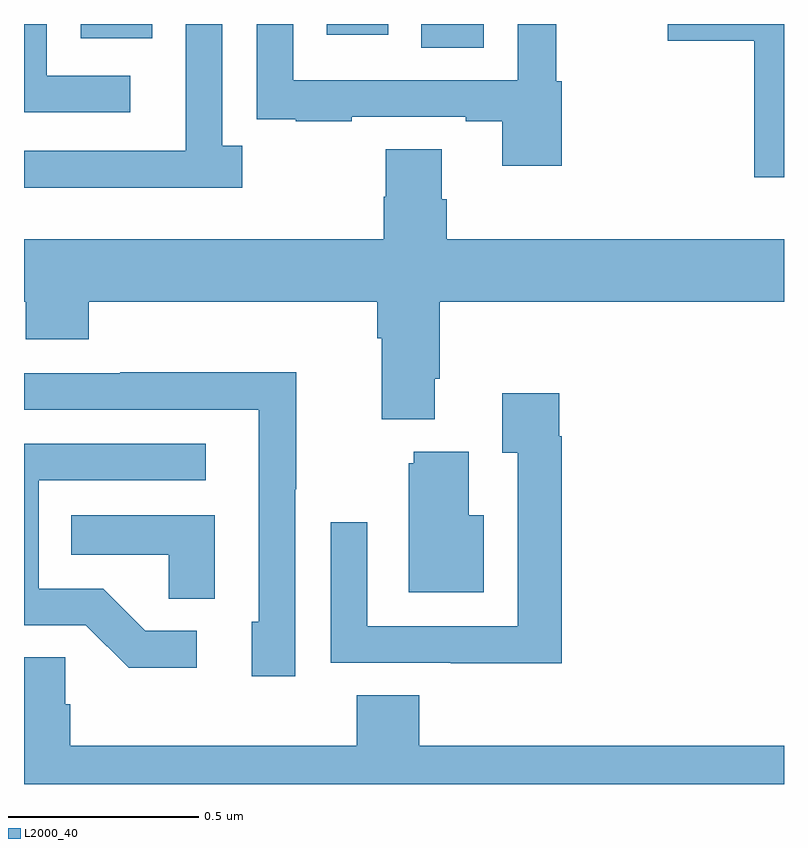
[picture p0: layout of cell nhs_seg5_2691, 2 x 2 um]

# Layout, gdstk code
import gdstk
lib = gdstk.Library(unit=1e-6, precision=1e-09)
def R(c, l, rs):  # rectangles x0, y0, x1, y1
    for r in rs: c.add(gdstk.rectangle(r[:2], r[2:], *l))
def P(c, l, *ps):  # polygons
    for p in ps: c.add(gdstk.Polygon(p, *l))
L2000_40 = (2000, 40)

nhs_seg5_2691 = lib.new_cell('nhs_seg5_2691')
R(nhs_seg5_2691, L2000_40, [(148.046,882.736,148.21,882.799), (147.149,882.761,147.337,882.799), (147.797,882.771,147.958,882.799)])
P(nhs_seg5_2691, L2000_40, [(147.28,882.663),(147.06,882.663),(147.06,882.799),(147,882.799),(147,882.567),(147.28,882.567)],
  [(148.415,882.648),(148.4,882.648),(148.4,882.799),(148.299,882.799),(148.299,882.651),(147.708,882.651),(147.708,882.799),(147.612,882.799),(147.612,882.658),(147.613,882.658),(147.613,882.549),(147.715,882.549),(147.715,882.543),(147.863,882.543),(147.863,882.555),(148.163,882.555),(148.163,882.543),(148.259,882.543),(148.259,882.426),(148.415,882.426)],
  [(149,882.799),(148.694,882.799),(148.694,882.755),(148.922,882.755),(148.922,882.396),(149,882.396)],
  [(147.574,882.478),(147.522,882.478),(147.522,882.799),(147.426,882.799),(147.426,882.665),(147.425,882.665),(147.425,882.465),(147,882.465),(147,882.368),(147.574,882.368)],
  [(148.081,881.866),(148.094,881.866),(148.094,882.068),(149,882.068),(149,882.232),(148.112,882.232),(148.112,882.338),(148.099,882.338),(148.099,882.47),(147.952,882.47),(147.952,882.345),(147.947,882.345),(147.947,882.232),(147,882.232),(147,882.068),(147.005,882.068),(147.005,881.969),(147.17,881.969),(147.17,882.068),(147.929,882.068),(147.929,881.972),(147.941,881.972),(147.941,881.759),(148.081,881.759)],
  [(147.714,881.575),(147.717,881.575),(147.717,881.882),(147.253,881.882),(147.253,881.88),(147,881.88),(147,881.784),(147.618,881.784),(147.618,881.226),(147.599,881.226),(147.599,881.082),(147.714,881.082)],
  [(148.415,881.714),(148.408,881.714),(148.408,881.827),(148.259,881.827),(148.259,881.671),(148.299,881.671),(148.299,881.214),(147.903,881.214),(147.903,881.488),(147.807,881.488),(147.807,881.118),(148.123,881.118),(148.123,881.117),(148.415,881.117)],
  [(147.454,881.202),(147.319,881.202),(147.208,881.313),(147.039,881.313),(147.039,881.598),(147.478,881.598),(147.478,881.694),(147,881.694),(147,881.217),(147.162,881.217),(147.275,881.105),(147.454,881.105)],
  [(148.21,881.506),(148.171,881.506),(148.171,881.674),(148.025,881.674),(148.025,881.643),(148.013,881.643),(148.013,881.303),(148.21,881.303)],
  [(147.502,881.506),(147.124,881.506),(147.124,881.402),(147.381,881.402),(147.381,881.287),(147.502,881.287)],
  [(149,880.9),(148.04,880.9),(148.04,881.033),(147.875,881.033),(147.875,880.9),(147.122,880.9),(147.122,881.009),(147.108,881.009),(147.108,881.132),(147,881.132),(147,880.799),(149,880.799)])

lib.write_gds('nhs_seg5_2691.gds')
